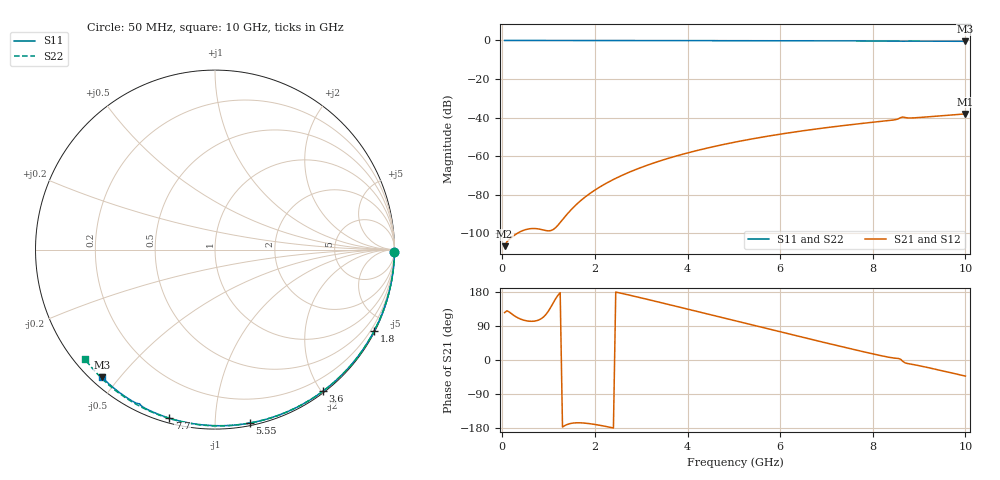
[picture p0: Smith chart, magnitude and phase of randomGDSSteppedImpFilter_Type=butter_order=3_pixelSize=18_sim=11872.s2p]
! freq	dB(S11)	phase(S11)	dB(S12)	phase(S12)
!  dB(S21)	phase(S21)	dB(S22)	phase(S22)
!S-par simulation data
#  GHz  S  DB  R 50
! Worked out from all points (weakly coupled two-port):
!   200 points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, 50 MHz to 10 GHz, reference 50 ohm
!   highest |S21| = -38.06 dB at 10 GHz (marker M1); lowest = -106.6 dB at 50 MHz (marker M2)
!   lowest |S11| = -0.4 dB at 10 GHz (marker M3), VSWR 39.06, Z = 1.54 - j22.5 ohm
!   |S11| at or under -10 dB: nowhere
!   |S22| runs from -0.5 to 0.0 dB; largest |S21 - S12| = 0
!   S11 on the Smith chart (normalised r, x): 50 MHz: open; 1.8 GHz: 0.04, -4.17; 3.6 GHz: 0.02, -2.02; 5.55 GHz: 0.02, -1.22; 7.7 GHz: 0.02, -0.76; 10 GHz: 0.03, -0.45
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0.05  -0.00 -0.8  -106.61 125.0  -106.61 125.0  -0.00 -0.8
0.85  -0.01 -12.8  -98.01 109.7  -98.01 109.7  -0.01 -13.7
1.75  -0.03 -26.2  -81.88 -166.2  -81.88 -166.2  -0.04 -27.9
1.8  -0.03 -27.0  -80.93 -166.8  -80.93 -166.8  -0.04 -28.7
1.85  -0.04 -27.7  -80.03 -167.4  -80.03 -167.4  -0.04 -29.5
2.15  -0.04 -32.1  -75.30 -173.3  -75.30 -173.3  -0.04 -34.1
2.55  -0.05 -37.9  -70.30 176.6  -70.30 176.6  -0.05 -40.3
2.95  -0.06 -43.6  -66.25 165.3  -66.25 165.3  -0.06 -46.3
3.4  -0.07 -49.9  -62.46 152.2  -62.46 152.2  -0.07 -53.1
3.6  -0.07 -52.7  -60.97 146.3  -60.97 146.3  -0.08 -56.0
4.3  -0.09 -62.3  -56.48 125.3  -56.48 125.3  -0.09 -66.2
5.05  -0.11 -72.3  -52.57 102.8  -52.57 102.8  -0.12 -76.7
5.55  -0.13 -78.7  -50.36 87.8  -50.36 87.8  -0.14 -83.5
6.1  -0.15 -85.7  -48.20 71.4  -48.20 71.4  -0.16 -90.9
6.7  -0.18 -93.2  -46.12 53.6  -46.12 53.6  -0.19 -98.8
7.7  -0.24 -105.2  -43.18 24.6  -43.18 24.6  -0.26 -111.5
8.35  -0.29 -112.9  -41.51 7.2  -41.51 7.2  -0.31 -119.6
8.5  -0.32 -114.7  -40.99 4.6  -40.99 4.6  -0.32 -121.5
8.65  -0.39 -116.1  -39.68 -3.7  -39.68 -3.7  -0.33 -123.3
8.75  -0.34 -117.1  -40.14 -9.3  -40.14 -9.3  -0.34 -124.5
8.9  -0.34 -118.9  -40.10 -12.5  -40.10 -12.5  -0.35 -126.4
10  -0.44 -131.5  -38.06 -42.5  -38.06 -42.5  -0.47 -139.8
